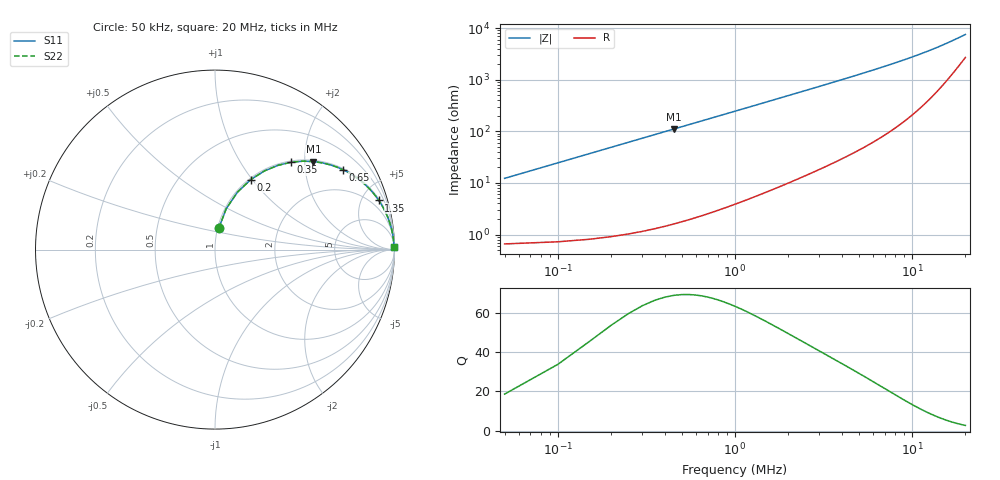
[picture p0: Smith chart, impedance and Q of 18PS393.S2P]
! Coilcraft 1812PS-393 Power Chip Inductor
! 1 October 2002
# MHZ S MA R 50
!Freq  MagS11  AngS11  MagS21  AngS21  MagS12  AngS12  MagS22  AngS22
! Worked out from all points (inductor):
!   400 points, 50 kHz to 20 MHz, reference 50 ohm
!   read as one part in series: L = 39 uH near 150 kHz
!   highest Q = 68.8 at 450 kHz (marker M1), where L = 39 uH
!   S11 on the Smith chart (normalised r, x): 50 kHz: 1.01, +0.25; 200 kHz: 1.02, +0.98; 350 kHz: 1.03, +1.72; 650 kHz: 1.05, +3.19; 1.35 MHz: 1.11, +6.63; 20 MHz: open
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0.05  0.121 80.0  0.9862 -6.9  0.9862 -6.9  0.121 80.0
0.1  0.2365 74.6  0.9647 -13.7  0.9647 -13.7  0.2365 74.6
0.15  0.3426 68.7  0.932 -20.0  0.932 -20.0  0.3426 68.7
0.2  0.4369 63.0  0.8914 -25.9  0.8914 -25.9  0.4369 63.0
0.25  0.5186 57.8  0.8464 -31.2  0.8464 -31.2  0.5186 57.8
0.35  0.6463 48.9  0.7534 -40.3  0.7534 -40.3  0.6463 48.9
0.45  0.7356 41.8  0.6669 -47.3  0.6669 -47.3  0.7356 41.8
0.55  0.7977 36.3  0.5917 -52.9  0.5917 -52.9  0.7977 36.3
0.65  0.8415 31.9  0.5281 -57.3  0.5281 -57.3  0.8415 31.9
0.8  0.8856 26.8  0.4514 -62.3  0.4514 -62.3  0.8856 26.8
0.95  0.9138 23.1  0.3922 -66.0  0.3922 -66.0  0.9138 23.1
1.35  0.9528 16.7  0.2874 -72.3  0.2874 -72.3  0.9528 16.7
1.75  0.97 13.0  0.2254 -75.9  0.2254 -75.9  0.97 13.0
2.25  0.9805 10.2  0.1768 -78.6  0.1768 -78.6  0.9805 10.2
2.8  0.9864 8.2  0.1425 -80.5  0.1425 -80.5  0.9864 8.2
3.4  0.99 6.7  0.1173 -81.8  0.1173 -81.8  0.99 6.7
4.85  0.994 4.7  0.08139 -83.4  0.08139 -83.4  0.994 4.7
6.7  0.9958 3.3  0.05758 -84.2  0.05758 -84.2  0.9958 3.3
10.05  0.9966 2.1  0.036 -83.6  0.036 -83.6  0.9966 2.1
13.35  0.9965 1.4  0.02481 -81.2  0.02481 -81.2  0.9965 1.4
16.7  0.9959 1.0  0.01777 -76.3  0.01777 -76.3  0.9959 1.0
20  0.9952 0.7  0.01322 -68.3  0.01322 -68.3  0.9952 0.7
